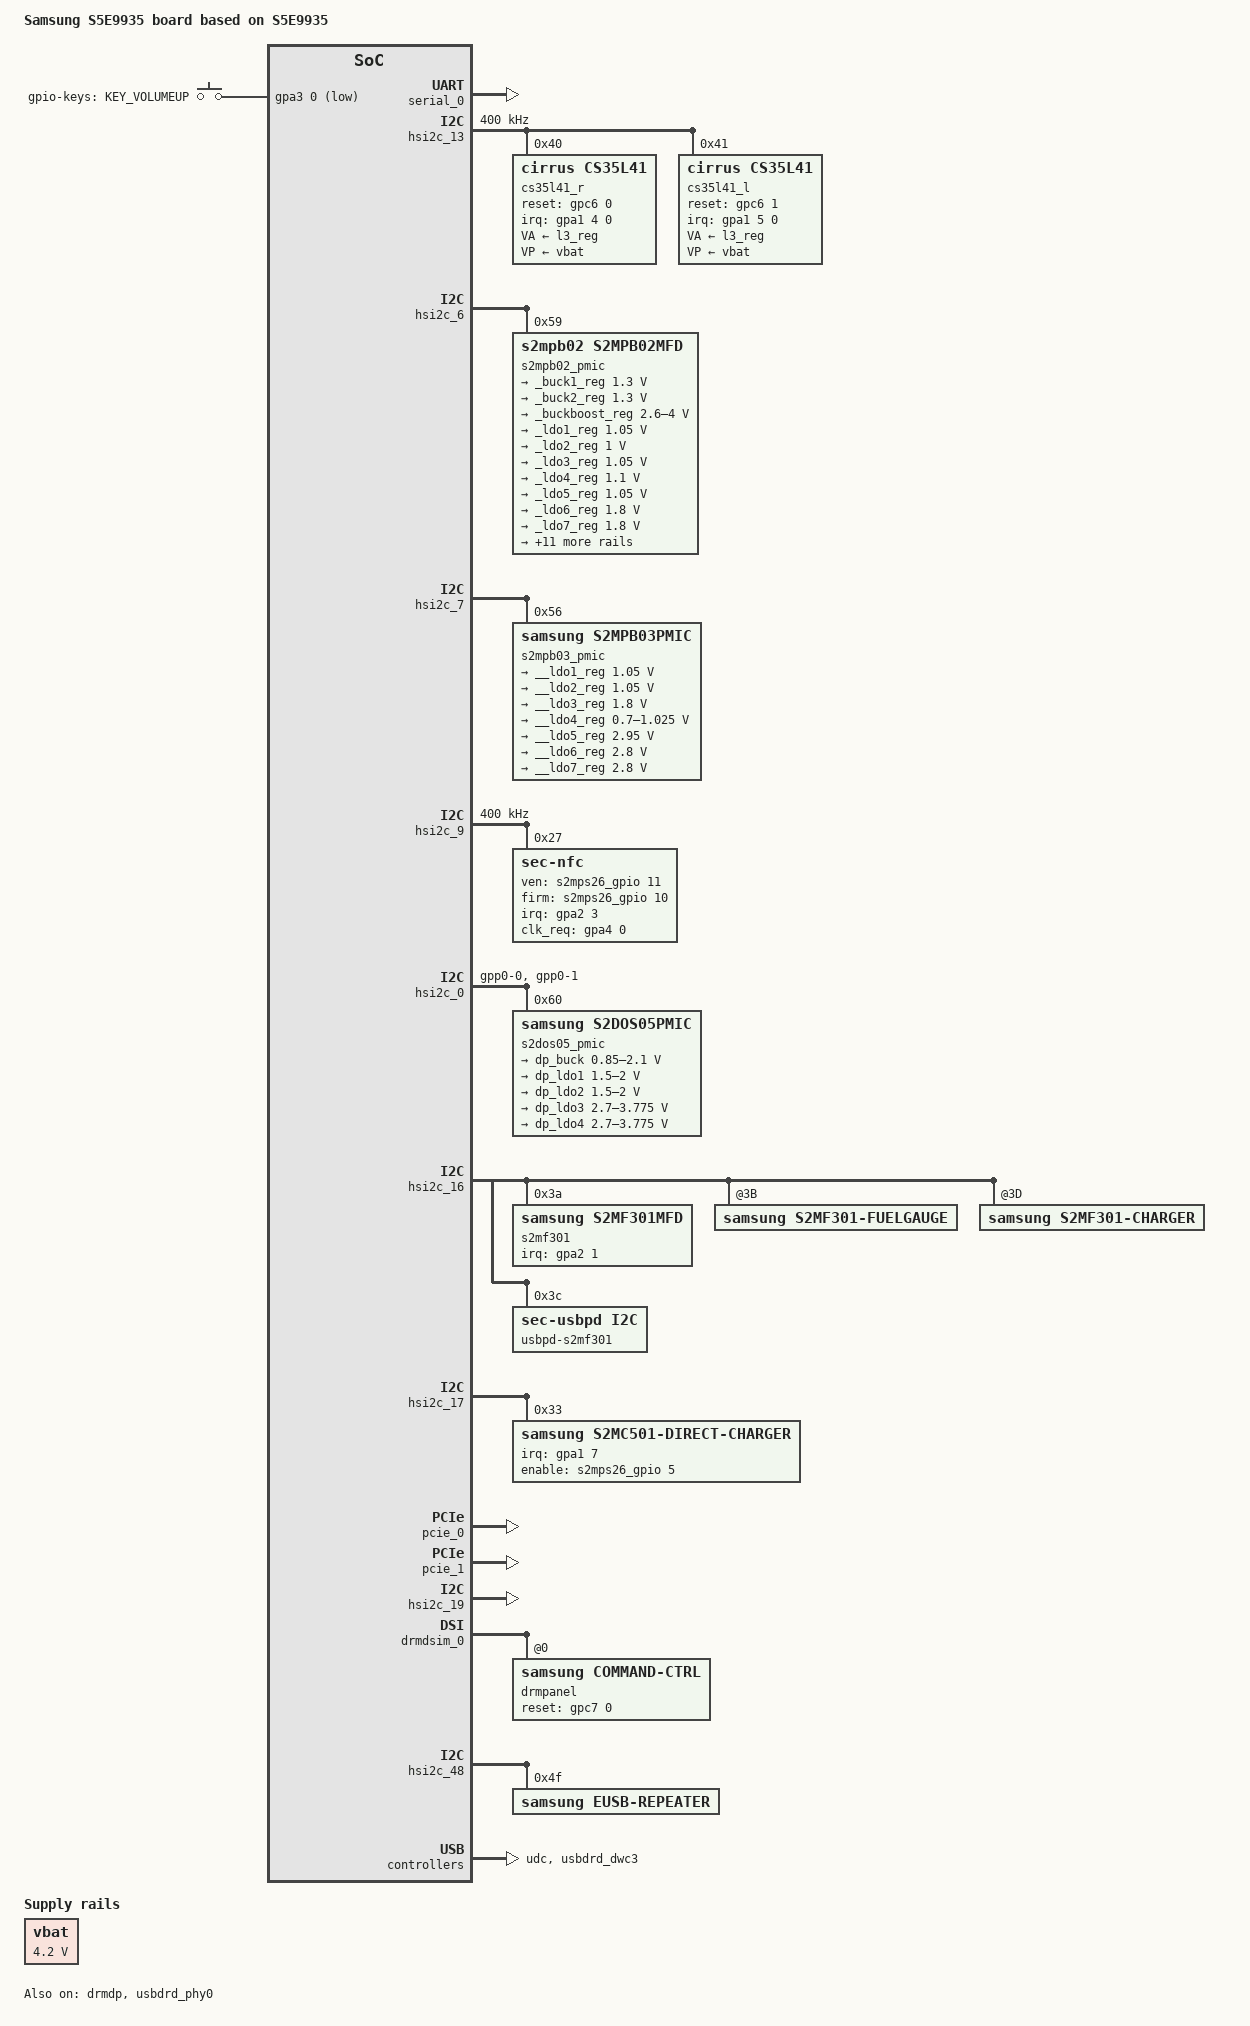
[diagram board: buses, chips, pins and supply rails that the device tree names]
/*
 * SAMSUNG S5E9935 SoC device tree source
 *
 * Copyright (c) 2022 Samsung Electronics Co., Ltd.
 *             http://www.samsung.com
 *
 * SAMSUNG S5E9935 SoC device nodes are listed in this file.
 * EXYNOS based board files can include this file and provide
 * values for board specfic bindings.
 *
 * This program is free software; you can redistribute it and/or modify
 * it under the terms of the GNU General Public License version 2 as
 * published by the Free Software Foundation.
 */

/dts-v1/;
/plugin/;
//#include <dt-bindings/clock/s5e9935.h>
#include <dt-bindings/interrupt-controller/s5e9935.h>
#include <dt-bindings/gpio/gpio.h>
#include "battery_data_erd9935_common_s2mf301.dtsi"
#include "s5e9935-erd9935-cp-s5143ap-sit.dtsi"
#include "s5e9935-erd9935-gnss.dtsi"
#include <dt-bindings/pci/pci.h>
//#include "camera/s5e9935-erd9935-camera.dtsi"
#include "s5e9935-ap_pmic.dtsi"

#define BOARD_ID	0x0

/ {
	compatible = "samsung,armv9", "samsung,s5e9935";
	board_id = <BOARD_ID>;
	board_rev = <0x0>;

	fragment@model {
		target-path = "/";
		__overlay__ {
			#address-cells = <2>;
			#size-cells = <1>;

			model = "Samsung S5E9935 board based on S5E9935";

			gpio_keys {
				status = "okay";
				compatible = "gpio-keys";
				pinctrl-names = "default";
				pinctrl-0 = <&key_volup>;

				button@3 {
					label = "gpio-keys: KEY_VOLUMEUP";
					linux,code = <115>;
					gpios = <&gpa3 0 0xf>;
				};
			};

			eusb_repeater_tune:hs_tune {
				status = "disabled";
				repeater_tune_cnt = <5>;
				/* 0xffffffff means using default value */
				/* tune value - reg value shift mask*/
				repeater_tune1 {
					tune_name = "tx_amp";
					tune_value = <0x08 0x3 0x0 0x7>;
				};

				repeater_tune2 {
					tune_name = "tx_de_emp";
					tune_value = <0x07 0x3 0x0 0x7>;
				};

				repeater_tune3 {
					tune_name = "tx_de_width";
					tune_value = <0x07 0x0 0x4 0x3>;
				};

				repeater_tune4 {
					tune_name = "rx_squelch";
					tune_value = <0x06 0x3 0x4 0x7>;
				};

				repeater_tune5 {
					tune_name = "hs_discon_th";
					tune_value = <0x0A 0x1 0x0 0x3>;
				};
			};

			usb_ss_tune:ss_tune {
				status = "disabled";
				ss_tune_cnt = <13>;
				/* value = <device host> */
				/* 0xffffffff means using default value */
				ss_tune1 {
					tune_name = "tx_eq_pre_g1";
					tune_value = <0xffffffff 0xffffffff>;
				};

				ss_tune2 {
					tune_name = "tx_eq_pre_g2";
					tune_value = <0xffffffff 0xffffffff>;
				};

				ss_tune3 {
					tune_name = "tx_eq_post_g1";
					tune_value = <0xffffffff 0xffffffff>;
				};

				ss_tune4 {
					tune_name = "tx_eq_post_g2";
					tune_value = <0xffffffff 0xffffffff>;
				};

				ss_tune5 {
					tune_name = "tx_eq_main_g1";
					tune_value = <0xffffffff 0xffffffff>;
				};

				ss_tune6 {
					tune_name = "tx_eq_main_g2";
					tune_value = <0xffffffff 0xffffffff>;
				};

				ss_tune7 {
					tune_name = "tx_vswing_lvl";
					tune_value = <0xffffffff 0xffffffff>;
				};

				ss_tune8 {
					tune_name = "rx_eq_att_lvl";
					tune_value = <0xffffffff 0xffffffff>;
				};

				ss_tune9 {
					tune_name = "rx_eq_afe_gain";
					tune_value = <0xffffffff 0xffffffff>;
				};

				ss_tune10 {
					tune_name = "rx_eq_ctle_boost";
					tune_value = <0xffffffff 0xffffffff>;
				};

				ss_tune11 {
					tune_name = "rx_term_ctrl";
					tune_value = <0xffffffff 0xffffffff>;
				};

				ss_tune12 {
					tune_name = "tx_term_ctrl";
					tune_value = <0xffffffff 0xffffffff>;
				};

				ss_tune13 {
					tune_name = "tx_rxdet_time";
					tune_value = <0xffffffff 0xffffffff>;
				};
			};

			usb_notifier {
				compatible = "samsung,usb-notifier";
				udc = <&udc>;
				status = "okay";
			};

			vbat: vbat {
				compatible = "regulator-fixed";
				regulator-name = "VBAT";
				regulator-min-microvolt = <4200000>;
				regulator-max-microvolt = <4200000>;
				regulator-boot-on;
			};

			dummy_audio_codec: audio-codec-dummy {
				compatible = "snd-soc-dummy";
				#sound-dai-cells = <0>;
			};

			dummy_audio_cpu: audio-cpu-dummy {
				compatible = "samsung,dummy-cpu";
				#sound-dai-cells = <0>;
			};

			sound {
				compatible = "samsung,exynos-sound";

				/* clock-names = "xclkout"; */
				/* clocks = <&clock OSC_AUD>; */

				MICBIAS1-supply = <&l26_reg>;
				MICBIAS2-supply = <&l26_reg>;
				MICBIAS3-supply = <&l26_reg>;

				/* Trick for probe order */
				dmas = <&dp_dma0>;

				samsung,routing =
					"DMIC1", "MICBIAS1",
					"DMIC2", "MICBIAS2",
					"DMIC3", "MICBIAS3",
					"RECEIVER", "Left SPK",
					"SPEAKER", "Right SPK",
					"VOUTPUT", "ABOX UAIF1 Playback",
					"ABOX UAIF1 Capture", "VINPUT1",
					"BLUETOOTH SPK", "ABOX UAIF2 Playback",
					"ABOX UAIF2 Capture", "BLUETOOTH MIC",
					"USB SPK", "ABOX USB Playback",
					"ABOX USB Capture", "USB MIC",
					"FWD SPK", "ABOX FWD Playback",
					"ABOX FWD Capture", "FWD MIC",
					"VTS Virtual Output", "VTS Virtual Output Mux",
					"PAD DPDM", "DMIC1",
					"PAD DPDM", "DMIC2",
					"PAD DPDM", "DMIC3",
					"PAD DPDM", "DMIC4";

				samsung,codec = <&cs35l41_l &cs35l41_r>;
				samsung,prefix = "Left", "Right";
				samsung,aux = <&abox_effect &abox_tplg>;

				rdma0 {
					cpu {
						sound-dai = <&abox_rdma_0 0>;
					};
					platform {
						sound-dai = <&abox_rdma_0 0>;
					};
				};
				rdma1 {
					cpu {
						sound-dai = <&abox_rdma_1 0>;
					};
					platform {
						sound-dai = <&abox_rdma_1 0>;
					};
				};
				rdma2 {
					cpu {
						sound-dai = <&abox_rdma_2 0>;
					};
					platform {
						sound-dai = <&abox_rdma_2 0>;
					};
				};
				rdma3 {
					cpu {
						sound-dai = <&abox_rdma_3 0>;
					};
					platform {
						sound-dai = <&abox_rdma_3 0>;
					};
				};
				rdma4 {
					cpu {
						sound-dai = <&abox_rdma_4 0>;
					};
					platform {
						sound-dai = <&abox_rdma_4 0>;
					};
				};
				rdma5 {
					cpu {
						sound-dai = <&abox_rdma_5 0>;
					};
					platform {
						sound-dai = <&abox_rdma_5 0>;
					};
				};
				rdma6 {
					cpu {
						sound-dai = <&abox_rdma_6 0>;
					};
					platform {
						sound-dai = <&abox_rdma_6 0>;
					};
				};
				rdma7 {
					cpu {
						sound-dai = <&abox_rdma_7 0>;
					};
					platform {
						sound-dai = <&abox_rdma_7 0>;
					};
				};
				rdma8 {
					cpu {
						sound-dai = <&abox_rdma_8 0>;
					};
					platform {
						sound-dai = <&abox_rdma_8 0>;
					};
				};
				rdma9 {
					cpu {
						sound-dai = <&abox_rdma_9 0>;
					};
					platform {
						sound-dai = <&abox_rdma_9 0>;
					};
				};
				rdma10 {
					cpu {
						sound-dai = <&abox_rdma_10 0>;
					};
					platform {
						sound-dai = <&abox_rdma_10 0>;
					};
				};
				rdma11 {
					cpu {
						sound-dai = <&abox_rdma_11 0>;
					};
					platform {
						sound-dai = <&abox_rdma_11 0>;
					};
				};
				wdma0 {
					cpu {
						sound-dai = <&abox_wdma_0 0>;
					};
					platform {
						sound-dai = <&abox_wdma_0 0>;
					};
				};
				wdma1 {
					cpu {
						sound-dai = <&abox_wdma_1 0>;
					};
					platform {
						sound-dai = <&abox_wdma_1 0>;
					};
				};
				wdma2 {
					cpu {
						sound-dai = <&abox_wdma_2 0>;
					};
					platform {
						sound-dai = <&abox_wdma_2 0>;
					};
				};
				wdma3 {
					cpu {
						sound-dai = <&abox_wdma_3 0>;
					};
					platform {
						sound-dai = <&abox_wdma_3 0>;
					};
				};
				wdma4 {
					cpu {
						sound-dai = <&abox_wdma_4 0>;
					};
					platform {
						sound-dai = <&abox_wdma_4 0>;
					};
				};
				wdma5 {
					cpu {
						sound-dai = <&abox_wdma_5 0>;
					};
					platform {
						sound-dai = <&abox_wdma_5 0>;
					};
				};
				wdma6 {
					cpu {
						sound-dai = <&abox_wdma_6 0>;
					};
					platform {
						sound-dai = <&abox_wdma_6 0>;
					};
				};
				wdma7 {
					cpu {
						sound-dai = <&abox_wdma_7 0>;
					};
					platform {
						sound-dai = <&abox_wdma_7 0>;
					};
				};
				wdma8 {
					cpu {
						sound-dai = <&abox_wdma_8 0>;
					};
					platform {
						sound-dai = <&abox_wdma_8 0>;
					};
				};
				wdma9 {
					cpu {
						sound-dai = <&abox_wdma_9 0>;
					};
					platform {
						sound-dai = <&abox_wdma_9 0>;
					};
				};
				wdma10 {
					cpu {
						sound-dai = <&abox_wdma_10 0>;
					};
					platform {
						sound-dai = <&abox_wdma_10 0>;
					};
				};
				wdma11 {
					cpu {
						sound-dai = <&abox_wdma_11 0>;
					};
					platform {
						sound-dai = <&abox_wdma_11 0>;
					};
				};
				vts0 {
					cpu {
						sound-dai = <&vts 0>;
					};
					platform {
						sound-dai = <&vts_dma0>;
					};
				};
				vts1 {
					cpu {
						sound-dai = <&vts 1>;
					};
					platform {
						sound-dai = <&vts_dma1>;
					};
				};
				vts2 {
					cpu {
						sound-dai = <&vts 2>;
					};
					platform {
						sound-dai = <&vts_dma2>;
					};
				};
				dp0_audio {
					cpu {
						sound-dai = <&displayport_adma 0>;
					};
					platform {
						sound-dai = <&dp_dma0>;
					};
				};
				dual0 {
					cpu {
						sound-dai = <&abox_dual_0>;
					};
					platform {
						sound-dai = <&abox_dual_0>;
					};
				};
				dual1 {
					cpu {
						sound-dai = <&abox_dual_1>;
					};
					platform {
						sound-dai = <&abox_dual_1>;
					};
				};
				dual2 {
					cpu {
						sound-dai = <&abox_dual_2>;
					};
					platform {
						sound-dai = <&abox_dual_2>;
					};
				};
				dual3 {
					cpu {
						sound-dai = <&abox_dual_3>;
					};
					platform {
						sound-dai = <&abox_dual_3>;
					};
				};
				dual4 {
					cpu {
						sound-dai = <&abox_dual_4>;
					};
					platform {
						sound-dai = <&abox_dual_4>;
					};
				};
				dual5 {
					cpu {
						sound-dai = <&abox_dual_5>;
					};
					platform {
						sound-dai = <&abox_dual_5>;
					};
				};
				dual6 {
					cpu {
						sound-dai = <&abox_dual_6>;
					};
					platform {
						sound-dai = <&abox_dual_6>;
					};
				};
				dual7 {
					cpu {
						sound-dai = <&abox_dual_7>;
					};
					platform {
						sound-dai = <&abox_dual_7>;
					};
				};
				dual8 {
					cpu {
						sound-dai = <&abox_dual_8>;
					};
					platform {
						sound-dai = <&abox_dual_8>;
					};
				};
				dual9 {
					cpu {
						sound-dai = <&abox_dual_9>;
					};
					platform {
						sound-dai = <&abox_dual_9>;
					};
				};
				dual10 {
					cpu {
						sound-dai = <&abox_dual_10>;
					};
					platform {
						sound-dai = <&abox_dual_10>;
					};
				};
				dual11 {
					cpu {
						sound-dai = <&abox_dual_11>;
					};
					platform {
						sound-dai = <&abox_dual_11>;
					};
				};
				ddma0 {
					cpu {
						sound-dai = <&abox_ddma_0>;
					};
					platform {
						sound-dai = <&abox_ddma_0>;
					};
				};
				ddma1 {
					cpu {
						sound-dai = <&abox_ddma_1>;
					};
					platform {
						sound-dai = <&abox_ddma_1>;
					};
				};
				ddma2 {
					cpu {
						sound-dai = <&abox_ddma_2>;
					};
					platform {
						sound-dai = <&abox_ddma_2>;
					};
				};
				ddma3 {
					cpu {
						sound-dai = <&abox_ddma_3>;
					};
					platform {
						sound-dai = <&abox_ddma_3>;
					};
				};
				ddma4 {
					cpu {
						sound-dai = <&abox_ddma_4>;
					};
					platform {
						sound-dai = <&abox_ddma_4>;
					};
				};
				ddma5 {
					cpu {
						sound-dai = <&abox_ddma_5>;
					};
					platform {
						sound-dai = <&abox_ddma_5>;
					};
				};
				uaif0 {
					format = "i2s";
					cpu {
						sound-dai = <&abox_uaif_0>;
					};
				};
				uaif1 {
					format = "i2s";
					cpu {
						sound-dai = <&abox_uaif_1>;
					};
				};
				uaif2 {
					format = "i2s";
					cpu {
						sound-dai = <&abox_uaif_2>;
					};
				};
				uaif3 {
					format = "dsp_a";
					cpu {
						sound-dai = <&abox_uaif_3>;
					};
					codec {
						sound-dai = <&cs35l41_l 0 &cs35l41_r 0>;
					};
				};
				uaif4 {
					format = "dsp_a";
					cpu {
						sound-dai = <&abox_uaif_4>;
					};
				};
				uaif5 {
					format = "dsp_a";
					cpu {
						sound-dai = <&abox_uaif_5>;
					};
				};
				uaif6 {
					format = "dsp_a";
					bitclock-master;
					bitclock-inversion;
					frame-master;

					cpu {
						sound-dai = <&abox_uaif_6>;
					};
					codec {
						sound-dai = <&vts_s_lif 0>;
					};
				};
				dsif0 {
					format = "pdm";
					cpu {
						sound-dai = <&abox_dsif>;
					};
				};
				udma_rd0 {
					cpu {
						sound-dai = <&abox_udma_rd_0>;
					};
				};
				udma_wr0 {
					cpu {
						sound-dai = <&abox_udma_wr_0>;
					};
				};
				udma_wr_dual0 {
					cpu {
						sound-dai = <&abox_udma_wr_dual_0>;
					};
				};
				udma_wr_dbg0 {
					cpu {
						sound-dai = <&abox_udma_wr_debug_0>;
					};
				};
				rdma0_be {
					cpu {
						sound-dai = <&abox_rdma_0 1>;
					};
					platform {
						sound-dai = <&abox_rdma_0 1>;
					};
				};
				rdma1_be {
					cpu {
						sound-dai = <&abox_rdma_1 1>;
					};
					platform {
						sound-dai = <&abox_rdma_1 1>;
					};
				};
				rdma2_be {
					cpu {
						sound-dai = <&abox_rdma_2 1>;
					};
					platform {
						sound-dai = <&abox_rdma_2 1>;
					};
				};
				rdma3_be {
					cpu {
						sound-dai = <&abox_rdma_3 1>;
					};
					platform {
						sound-dai = <&abox_rdma_3 1>;
					};
				};
				rdma4_be {
					cpu {
						sound-dai = <&abox_rdma_4 1>;
					};
					platform {
						sound-dai = <&abox_rdma_4 1>;
					};
				};
				rdma5_be {
					cpu {
						sound-dai = <&abox_rdma_5 1>;
					};
					platform {
						sound-dai = <&abox_rdma_5 1>;
					};
				};
				rdma6_be {
					cpu {
						sound-dai = <&abox_rdma_6 1>;
					};
					platform {
						sound-dai = <&abox_rdma_6 1>;
					};
				};
				rdma7_be {
					cpu {
						sound-dai = <&abox_rdma_7 1>;
					};
					platform {
						sound-dai = <&abox_rdma_7 1>;
					};
				};
				rdma8_be {
					cpu {
						sound-dai = <&abox_rdma_8 1>;
					};
					platform {
						sound-dai = <&abox_rdma_8 1>;
					};
				};
				rdma9_be {
					cpu {
						sound-dai = <&abox_rdma_9 1>;
					};
					platform {
						sound-dai = <&abox_rdma_9 1>;
					};
				};
				rdma10_be {
					cpu {
						sound-dai = <&abox_rdma_10 1>;
					};
					platform {
						sound-dai = <&abox_rdma_10 1>;
					};
				};
				rdma11_be {
					cpu {
						sound-dai = <&abox_rdma_11 1>;
					};
					platform {
						sound-dai = <&abox_rdma_11 1>;
					};
				};
				wdma0_be {
					cpu {
						sound-dai = <&abox_wdma_0 1>;
					};
					platform {
						sound-dai = <&abox_wdma_0 1>;
					};
				};
				wdma1_be {
					cpu {
						sound-dai = <&abox_wdma_1 1>;
					};
					platform {
						sound-dai = <&abox_wdma_1 1>;
					};
				};
				wdma2_be {
					cpu {
						sound-dai = <&abox_wdma_2 1>;
					};
					platform {
						sound-dai = <&abox_wdma_2 1>;
					};
				};
				wdma3_be {
					cpu {
						sound-dai = <&abox_wdma_3 1>;
					};
					platform {
						sound-dai = <&abox_wdma_3 1>;
					};
				};
				wdma4_be {
					cpu {
						sound-dai = <&abox_wdma_4 1>;
					};
					platform {
						sound-dai = <&abox_wdma_4 1>;
					};
				};
				wdma5_be {
					cpu {
						sound-dai = <&abox_wdma_5 1>;
					};
					platform {
						sound-dai = <&abox_wdma_5 1>;
					};
				};
				wdma6_be {
					cpu {
						sound-dai = <&abox_wdma_6 1>;
					};
					platform {
						sound-dai = <&abox_wdma_6 1>;
					};
				};
				wdma7_be {
					cpu {
						sound-dai = <&abox_wdma_7 1>;
					};
					platform {
						sound-dai = <&abox_wdma_7 1>;
					};
				};
				wdma8_be {
					cpu {
						sound-dai = <&abox_wdma_8 1>;
					};
					platform {
						sound-dai = <&abox_wdma_8 1>;
					};
				};
				wdma9_be {
					cpu {
						sound-dai = <&abox_wdma_9 1>;
					};
					platform {
						sound-dai = <&abox_wdma_9 1>;
					};
				};
				wdma10_be {
					cpu {
						sound-dai = <&abox_wdma_10 1>;
					};
					platform {
						sound-dai = <&abox_wdma_10 1>;
					};
				};
				wdma11_be {
					cpu {
						sound-dai = <&abox_wdma_11 1>;
					};
					platform {
						sound-dai = <&abox_wdma_11 1>;
					};
				};
				usb {
					cpu {
						sound-dai = <&abox 0>;
					};
				};
				fwd {
					cpu {
						sound-dai = <&abox 1>;
					};
				};
			}; /* end of sound */
		};
	};
};

&abox {
	samsung,abox-bootargs = "vss=false";
};

&serial_0 {
	status = "okay";
};

&pinctrl_0 {
	dp_pmic_irq: dp-pmic-irq {
		samsung,pins = "gpa2-6";
		samsung,pin-function = <0>;
		samsung,pin-pud = <0>;
		samsung,pin-drv = <0>;
	};

	sub_pmic_irq: sub-pmic-irq {
		samsung,pins = "gpa2-2";
		samsung,pin-function = <0>;
		samsung,pin-pud = <0>;
		samsung,pin-drv = <0>;
	};

	usbpd_irq: usbpd-irq {
		samsung,pins = "gpa0-0";
		samsung,pin-function = <0>;
		samsung,pin-pud = <2>;
		samsung,pin-drv = <0>;
	};

	if_pmic_irq: if-pmic-irq {
		samsung,pins = "gpa2-1";
		samsung,pin-function = <0>;
		samsung,pin-pud = <0>;
		samsung,pin-drv = <0>;
	};

	dc_irq: dc-irq {
		samsung,pins = "gpa1-7";
		samsung,pin-function = <0>;
		samsung,pin-pud = <0>;
		samsung,pin-drv = <0>;
	};

	attn_irq: attn-irq {
		samsung,pins = "gpa1-2";
		samsung,pin-function = <0xf>;
		samsung,pin-pud = <3>;
		samsung,pin-drv = <3>;
	};

	attn_input: attn-input {
		samsung,pins = "gpa1-2";
		samsung,pin-function = <0>;
		samsung,pin-pud = <1>;
	};

	nfc_clkreq: nfc-clkreq {
		samsung,pins ="gpa4-0";
		samsung,pin-function = <2>;
	};

	nfc_read_irq: nfc-read-irq {
		samsung,pins ="gpa2-3";
		samsung,pin-function = <0xf>;
	};

	key_volup: key-volup {
		samsung,pins = "gpa3-0";
		samsung,pin-function = <0xf>;
		samsung,pin-pud = <3>;
		samsung,pin-drv = <3>;
	};
};

&pinctrl_7 {
	dp_pmic_bus: dp-pmic-bus {
		samsung,pins = "gpp0-0", "gpp0-1";
		samsung,pin-function = <2>;
		samsung,pin-pud = <3>;
		samsung,pin-drv = <0>;
	};
};

&pinctrl_7 {
	cs35l41_r_reset: cs35l41-r-reset {
		samsung,pins = "gpc6-0";
		samsung,pin-con-pdn = <3>;
		samsung,pin-pud-pdn = <0>;
	};
	cs35l41_l_reset: cs35l41-l-reset {
		samsung,pins = "gpc6-1";
		samsung,pin-con-pdn = <3>;
		samsung,pin-pud-pdn = <0>;
	};
};

&pinctrl_0 {
	cs35l41_r_int: cs35l41-r-int {
		samsung,pins = "gpa1-4";
		samsung,pin-pud = <0>;
	};
	cs35l41_l_int: cs35l41-l-int {
		samsung,pins = "gpa1-5";
		samsung,pin-pud = <0>;
	};
};

&hsi2c_13 {
	#address-cells = <1>;
	#size-cells = <0>;
	status = "okay";
	clock-frequency = <400000>;
	cs35l41_r: cs35l41@40 {
		#sound-dai-cells = <1>;
		compatible = "cirrus,cs35l41";
		reg = <0x40>;
		interrupt-parent = <&gpa1>;
		interrupts = <4 0 0>;
		pinctrl-names = "default";
		pinctrl-0 = <&cs35l41_r_reset &cs35l41_r_int>;
		reset-gpios = <&gpc6 0 0>;
		VA-supply = <&l3_reg>;
		VP-supply = <&vbat>;

		cirrus,boost-peak-milliamp = <4500>;
		cirrus,boost-ind-nanohenry = <1000>;
		cirrus,boost-cap-microfarad = <15>;

		cirrus,dsp-noise-gate-enable;
		cirrus,dsp-noise-gate-delay = <0x2>;
		cirrus,dsp-noise-gate-threshold = <0x6>;

		cirrus,hw-noise-gate-select = <0x3F>;
		cirrus,hw-noise-gate-delay = <0x0>;
		cirrus,hw-noise-gate-threshold = <0x6>;

		cirrus,use-fsync-errata;

		cirrus,asp-sdout-hiz = <0x3>;

		cirrus,right-channel-amp;
		cirrus,mfd-suffix = "_r";

		cirrus,gpio-config2 {
			cirrus,gpio-src-select = <0x4>;
			cirrus,gpio-output-enable;
		};
	};

	cs35l41_l: cs35l41@41 {
		#sound-dai-cells = <1>;
		compatible = "cirrus,cs35l41";
		reg = <0x41>;
		interrupt-parent = <&gpa1>;
		interrupts = <5 0 0>;
		pinctrl-names = "default";
		pinctrl-0 = <&cs35l41_l_reset &cs35l41_l_int>;
		reset-gpios = <&gpc6 1 0>;
		VA-supply = <&l3_reg>;
		VP-supply = <&vbat>;

		cirrus,boost-peak-milliamp = <4500>;
		cirrus,boost-ind-nanohenry = <1000>;
		cirrus,boost-cap-microfarad = <15>;

		cirrus,dsp-noise-gate-enable;
		cirrus,dsp-noise-gate-delay = <0x2>;
		cirrus,dsp-noise-gate-threshold = <0x6>;

		cirrus,hw-noise-gate-select = <0x3F>;
		cirrus,hw-noise-gate-delay = <0x0>;
		cirrus,hw-noise-gate-threshold = <0x6>;

		cirrus,use-fsync-errata;

		cirrus,asp-sdout-hiz = <0x3>;

		cirrus,mfd-suffix = "";

		cirrus,gpio-config2 {
			cirrus,gpio-src-select = <0x4>;
			cirrus,gpio-output-enable;
		};
	};
};

&hsi2c_6 {
	#address-cells = <3>;
	#size-cells = <0>;
	status = "okay";
	s2mpb02_pmic@59 {
		compatible = "s2mpb02,s2mpb02mfd";
		reg = <0x59 0x0 0x10>;

		s2mpb02,wakeup;
		pinctrl-names = "default";
		pinctrl-0 = <&sub_pmic_irq>;

		regulators {
			_buck1_reg: s2mpb02-buck1 {
				regulator-name = "S2MPB02_BUCK1";
				regulator-min-microvolt = <1300000>;
				regulator-max-microvolt = <1300000>;
			};

			_buck2_reg: s2mpb02-buck2 {
				regulator-name = "S2MPB02_BUCK2";
				regulator-min-microvolt = <1300000>;
				regulator-max-microvolt = <1300000>;
			};

			_buckboost_reg: s2mpb02-bb {
				regulator-name = "S2MPB02_BB";
				regulator-min-microvolt = <2600000>;
				regulator-max-microvolt = <4000000>;
				regulator-always-on;
				regulator-boot-on;
			};

			_ldo1_reg: s2mpb02-ldo1 {
				regulator-name = "VDDPHY_1.05V_CAM";
				regulator-min-microvolt = <1050000>;
				regulator-max-microvolt = <1050000>;
			};

			_ldo2_reg: s2mpb02-ldo2 {
				regulator-name = "S2MPB02_LDO2";
				regulator-min-microvolt = <1000000>;
				regulator-max-microvolt = <1000000>;
			};

			_ldo3_reg: s2mpb02-ldo3 {
				regulator-name = "VDDD_1.05V_WIDESUB";
				regulator-min-microvolt = <1050000>;
				regulator-max-microvolt = <1050000>;
			};

			_ldo4_reg: s2mpb02-ldo4 {
				regulator-name = "S2MPB02_LDO4";
				regulator-min-microvolt = <1100000>;
				regulator-max-microvolt = <1100000>;
			};

			_ldo5_reg: s2mpb02-ldo5 {
				regulator-name = "VDDD_1.05V_VT";
				regulator-min-microvolt = <1050000>;
				regulator-max-microvolt = <1050000>;
			};

			_ldo6_reg: s2mpb02-ldo6 {
				regulator-name = "VDDIO_1.8V_VT";
				regulator-min-microvolt = <1800000>;
				regulator-max-microvolt = <1800000>;
			};

			_ldo7_reg: s2mpb02-ldo7 {
				regulator-name = "VDDIO_1.8V_SUB";
				regulator-min-microvolt = <1800000>;
				regulator-max-microvolt = <1800000>;
			};

			_ldo8_reg: s2mpb02-ldo8 {
				regulator-name = "VDDIO_1.8V_WIDESUB";
				regulator-min-microvolt = <1800000>;
				regulator-max-microvolt = <1800000>;
			};

			_ldo9_reg: s2mpb02-ldo9 {
				regulator-name = "S2MPB02_LDO9";
				regulator-min-microvolt = <1800000>;
				regulator-max-microvolt = <1800000>;
			};

			_ldo10_reg: s2mpb02-ldo10 {
				regulator-name = "S2MPB02_LD10";
				regulator-min-microvolt = <1800000>;
				regulator-max-microvolt = <1800000>;
			};

			_ldo11_reg: s2mpb02-ldo11 {
				regulator-name = "VDD_2.8V_VT";
				regulator-min-microvolt = <2800000>;
				regulator-max-microvolt = <2800000>;
			};

			_ldo12_reg: s2mpb02-ldo12 {
				regulator-name = "VDDA_2.8V_WIDESUB";
				regulator-min-microvolt = <2800000>;
				regulator-max-microvolt = <2800000>;
			};

			_ldo13_reg: s2mpb02-ldo13 {
				regulator-name = "VDDAF_2.8V_SUB";
				regulator-min-microvolt = <2800000>;
				regulator-max-microvolt = <2800000>;
			};

			_ldo14_reg: s2mpb02-ldo14 {
				regulator-name = "VDDAF_COMMON_CAM";
				regulator-min-microvolt = <2800000>;
				regulator-max-microvolt = <2800000>;
			};

			_ldo15_reg: s2mpb02-ldo15 {
				regulator-name = "S2MPB02_LD15";
				regulator-min-microvolt = <2950000>;
				regulator-max-microvolt = <2950000>;
			};

			_ldo16_reg: s2mpb02-ldo16 {
				regulator-name = "VDDAF_2.8V_VT";
				regulator-min-microvolt = <2800000>;
				regulator-max-microvolt = <2800000>;
			};

			_ldo17_reg: s2mpb02-ldo17 {
				regulator-name = "S2MPB02_LD17";
				regulator-min-microvolt = <2800000>;
				regulator-max-microvolt = <2800000>;
			};

			_ldo18_reg: s2mpb02-ldo18 {
				regulator-name = "S2MPB02_LD18";
				regulator-min-microvolt = <2800000>;
				regulator-max-microvolt = <2800000>;
			};
		};
	};
};

&hsi2c_7 {
	#address-cells = <1>;
	#size-cells = <0>;
	status = "okay";
	s2mpb03_pmic@56 {
		compatible = "samsung,s2mpb03pmic";
		reg = <0x56>;

		s2mpb03,wakeup;

		regulators {
			__ldo1_reg: s2mpb03-ldo1 {
				regulator-name = "VDDD_1.05V_SUB";
				regulator-min-microvolt = <1050000>;
				regulator-max-microvolt = <1050000>;
			};

			__ldo2_reg: s2mpb03-ldo2 {
				regulator-name = "VDDD_1.05V_CAM";
				regulator-min-microvolt = <1050000>;
				regulator-max-microvolt = <1050000>;
			};

			__ldo3_reg: s2mpb03-ldo3 {
				regulator-name = "VDDIO_1.8V_CAM";
				regulator-min-microvolt = <1800000>;
				regulator-max-microvolt = <1800000>;
			};

			__ldo4_reg: s2mpb03-ldo4 {
				regulator-name = "S2MPB03_LD04";
				regulator-min-microvolt = <700000>;
				regulator-max-microvolt = <1025000>;
			};

			__ldo5_reg: s2mpb03-ldo5 {
				regulator-name = "VDDA_2.8V_CAM";
				regulator-min-microvolt = <2950000>;
				regulator-max-microvolt = <2950000>;
			};

			__ldo6_reg: s2mpb03-ldo6 {
				regulator-name = "VDDA_2.8V_SUB";
				regulator-min-microvolt = <2800000>;
				regulator-max-microvolt = <2800000>;
			};

			__ldo7_reg: s2mpb03-ldo7 {
				regulator-name = "VDD_VM_2.8V_OIS";
				regulator-min-microvolt = <2800000>;
				regulator-max-microvolt = <2800000>;
			};
		};
	};
};

&hsi2c_9 {
	#address-cells = <1>;
	#size-cells = <0>;
	status = "okay";
	clock-frequency = <400000>;

	sec-nfc@27 {
		compatible = "sec-nfc";
		reg = <0x27>;

		sec-nfc,ven-gpio = <&s2mps26_gpio 11 0>;
		sec-nfc,firm-gpio = <&s2mps26_gpio 10 0>;
		sec-nfc,irq-gpio = <&gpa2 3 0>;
		sec-nfc,clk_req-gpio = <&gpa4 0 0>;
		sec-nfc,pmic-ldo = "vdd_ldo23";

		clock-names = "OSC_NFC";
		clkctrl-reg = <0x15860a0c>;

		pinctrl-names = "default";
		pinctrl-0 = <&nfc_clkreq &nfc_read_irq &pinctrl_nfc_ven &pinctrl_nfc_firm>;
	};
};

&hsi2c_0 {
	#address-cells = <1>;
	#size-cells = <0>;
	status = "okay";
	pinctrl-names = "default";
	pinctrl-0 = <&dp_pmic_bus>;
	s2dos05_pmic@60 {
		compatible = "samsung,s2dos05pmic";
		reg = <0x60>;
		s2dos05,wakeup;
		pinctrl-names = "default";
		pinctrl-0 = <&dp_pmic_irq>;
		s2dos05,s2dos05_int = <&gpa2 6 0>;
		adc_mode = <1>; /* 0 : disable, 1 : current meter, 2 : power meter */
		adc_sync_mode = <2>; /* 1 : sync mode, 2 : async mode */
		regulators {
			dp_buck: s2dos05-buck1 {
				regulator-name = "vdd1";
				regulator-min-microvolt = <850000>;
				regulator-max-microvolt = <2100000>;
				regulator-always-on;
				regulator-boot-on;
			};
			dp_ldo1: s2dos05-ldo1 {
				regulator-name = "vdd2";
				regulator-min-microvolt = <1500000>;
				regulator-max-microvolt = <2000000>;
				regulator-always-on;
				regulator-boot-on;
			};
			dp_ldo2: s2dos05-ldo2 {
				regulator-name = "vdd3";
				regulator-min-microvolt = <1500000>;
				regulator-max-microvolt = <2000000>;
			};
			dp_ldo3: s2dos05-ldo3{
				regulator-name = "vdd4";
				regulator-min-microvolt = <2700000>;
				regulator-max-microvolt = <3775000>;
			};
			dp_ldo4: s2dos05-ldo4{
				regulator-name = "vdd5";
				regulator-min-microvolt = <2700000>;
				regulator-max-microvolt = <3775000>;
				regulator-always-on;
				regulator-boot-on;
			};
		};
	};
};

&hsi2c_16 {
	#address-cells = <1>;
	#size-cells = <0>;
	status = "okay";
	s2mf301@3A {
		compatible = "samsung,s2mf301mfd";
		reg = <0x3A>;
		pinctrl-names = "default";
		pinctrl-0 = <&if_pmic_irq>;
		s2mf301,irq-gpio = <&gpa2 1 0>;
		s2mf301,wakeup;
	};

	flash_led {
		status = "okay";
		default_current = <50>;
		max_current = <200>;
		default_timer = <0>;

		s2mf301-channel1 {
			id = <0>;
		};
	};

	s2mf301-fuelgauge@3B {
		compatible = "samsung,s2mf301-fuelgauge";
		pinctrl-names = "default";
		fuelgauge,fuel_alert_vol = <3400>;
		fuelgauge,fuel_alert_soc = <1>;
		fuelgauge,type_str = "SDI";
		fuelgauge,model_type = <1>;
	};

	s2mf301-charger@3D {
		compatible = "samsung,s2mf301-charger";
		pinctrl-names = "default";
		battery,charger_name = "s2mf301-charger";
		battery,chg_gpio_en = <0>;
		battery,chg_polarity_en = <0>;
		battery,chg_gpio_status = <0>;
		battery,chg_polarity_status = <0>;
		battery,chg_float_voltage = <4350>;
		battery,chg_recharge_vcell = <4250>;
		battery,chg_full_vcell = <4300>;
		battery,full_check_type = <2>;
		battery,full_check_type_2nd = <2>;
		battery,input_current_limit = <
			500 450 500 1200 500 1200 1200 1000 1000 1000
			1000 500 500 1200 1000 500 450>;
		battery,fast_charging_current =	<
			500 450 500 1200 500 1200 1200 1000 1000 1000
			1000 500 500 1200 1000 500 450>;
		battery,full_check_current_1st = <
			300 0 300 300 300 300 300 300 300 300
			300 300 300 300 300 300 0>;
		battery,full_check_current_2nd = <
			100 0 100 100 100 100 100 100 100 100
			100 100 100 100 100 100 0>;
	};

	usbpd-s2mf301@3C {
		compatible = "sec-usbpd,i2c";
		reg = <0x3C>;
		pinctrl-names = "default";
		pinctrl-0 = <&usbpd_irq>;
		usbpd,usbpd_int = <&gpa0 0 0>;

		pdic-manager {
			/* sink */
			pdic,max_power = <5000>;
			pdic_op_power = <2500>;
			pdic_max_voltage = <6000>;
			pdic_max_current = <2000>;
			pdic_min_current = <500>;

			pdic,giveback = <0>;
			pdic,usb_com_capable = <1>;
			pdic,no_usb_suspend = <1>;

			/* source */
			source,max_voltage = <5000>;
			source,min_voltage = <4000>;
			source,max_power = <2500>;

			/* sink cap */
			sink,capable_max_voltage = <5000>;
		};
	};
};

&hsi2c_17 {
	#address-cells = <1>;
	#size-cells = <0>;
	status = "okay";
	s2mc501-direct-charger@33 {
		compatible = "samsung,s2mc501-direct-charger";
		reg = <0x33>;
		pinctrl-names = "default";
		dc,direct_charger_name = "s2mc501-direct-charger";
		pinctrl-0 = <&dc_irq>;
		s2mc501,irq-gpio = <&gpa1 7 0>;
		s2mc501,enable-gpio = <&s2mps26_gpio 5 0>;
	};
};

&ufs {
	vcc-supply = <&l18_reg>;
	vccq-supply = <&l19_reg>;
};

&pcie_0 {
	compatible = "exynos-pcie-rc,wifi_ss";
	dma-coherent;
	status = "okay";
	use-sysmmu = "false";
	ip-ver = <0x993500>;
	use-ia = "true";
	ep-device-type = <EP_TYPE_SAMSUNG_WIFI>;
	pcie,ep-power-gpio = <&gpc2 0 0x1 /* PMIC TO PMU */>;
	max-link-speed = <LINK_SPEED_GEN2>;
};

&pcie_1 {
	compatible = "exynos-pcie-rc,cp_ss";
	dma-coherent;
	status = "okay";
	ip-ver = <0x993500>;
	use-sysmmu = "false";
	//phy-power-off = "false";
	use-pcieon-sleep = "false";
	ep-device-type = <EP_TYPE_SAMSUNG_MODEM>;
};

&hsi2c_19 {
	#address-cells = <1>;
	#size-cells = <0>;
	status = "okay";
	samsung,reset-before-trans;
};

&drmdsim_0 {
	#address-cells = <1>;
	#size-cells = <0>;
	drmpanel {
		   compatible = "samsung,command-ctrl";
		   /* reset, power */
		   reset-gpios = <&gpc7 0 GPIO_ACTIVE_HIGH>;
		   reg = <0>;
		   pinctrl-names = "default";
		   pinctrl-0 = <&ddi_rst>;
	};
};

&drmdecon0 {
	recovery-enable;
	recovery-modes = "force";
	recovery-condition {
		force {
			max-limit = <3 5>;
			max-recovery = <5>;
			disable-watchdog;
		};
	};
};

&drmdp {
	/* GPIO, PMIC-external GPIO */
	status = "okay";
	/* below gpios are pmic gpio, plz modify after implementation */
	dp,aux_sw_oe = <&s2mps26_gpio 17 0>;
	dp,sbu_sw_sel = <&s2mps26_gpio 14 0>;
	/* Pamir ERD doesn't have USB direction gpio pin
	 * dp,usb_con_sel = <&xxx0 0 0>;
	 */
	pinctrl-names = "default";
};

/* USB board DT start */
&hsi2c_48 {
	#address-cells = <1>;
	#size-cells = <0>;
	status = "okay";
	eusb-repeater@4F {
		compatible = "samsung,eusb-repeater";
		reg = <0x4F>;
		status = "okay";
		repeater_tune_param = <&eusb_repeater_tune>;
	};
};

&udc {
	status = "okay";
};

&usbdrd_dwc3 {
	status = "okay";
	maximum-speed = "super-speed-plus";
	usb_audio_offloading = <0>;
//	abox = <&abox>;
//	samsung,abox-gic = <&abox_gic>;
	xhci_use_uram_for_audio = <0>;

	vdd_ldo5-supply = <&l5_reg>;
	vdd_ldo7-supply = <&l7_reg>;
	vdd_ldo20-supply = <&l20_reg>;
	vdd_ldo16s-supply = <&s_l16_reg>;

};

&usbdrd_phy0 {
	status = "okay";

	pinctrl-names = "default";

	ss_tune_param = <&usb_ss_tune>;
	low_power_call = <1>;

	vdd_ldo5-supply = <&l5_reg>;
	vdd_ldo7-supply = <&l7_reg>;
	vdd_ldo20-supply = <&l20_reg>;
	vdd_ldo16s-supply = <&s_l16_reg>;

};
/* USB board DT end */
